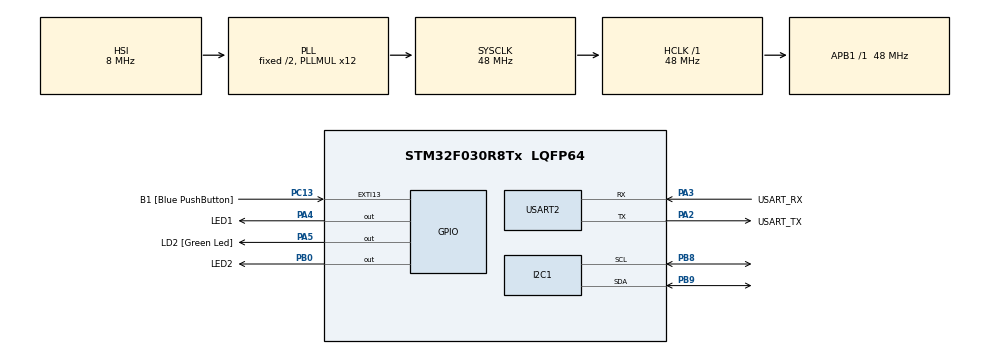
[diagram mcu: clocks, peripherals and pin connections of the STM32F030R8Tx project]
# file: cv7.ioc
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FREERTOS.Queues01=xVisualQueue,16,uint16_t,0,Dynamic,NULL,NULL
FREERTOS.Tasks01=defaultTask,0,128,StartDefaultTask,Default,NULL,Dynamic,NULL,NULL;visualTask,0,128,StartVisualTask,Default,NULL,Dynamic,NULL,NULL;AcceleroTask,0,128,StartAcceleroTask,Default,NULL,Dynamic,NULL,NULL
Mcu.Family=STM32F0
Mcu.Name=STM32F030R8Tx
Mcu.Package=LQFP64
NVIC.TIM1_BRK_UP_TRG_COM_IRQn=true\:0\:0\:false\:false\:true\:false\:false\:true
NVIC.TimeBase=TIM1_BRK_UP_TRG_COM_IRQn
NVIC.TimeBaseIP=TIM1
PA13.GPIO_Label=TMS
PA13.Mode=Serial_Wire
PA13.Signal=SYS_SWDIO
PA14.GPIO_Label=TCK
PA14.Mode=Serial_Wire
PA14.Signal=SYS_SWCLK
PA2.GPIO_Label=USART_TX
PA2.GPIO_Mode=GPIO_MODE_AF_PP
PA2.GPIO_PuPd=GPIO_NOPULL
PA2.GPIO_Speed=GPIO_SPEED_FREQ_LOW
PA2.Mode=Asynchronous
PA2.Signal=USART2_TX
PA3.GPIO_Label=USART_RX
PA3.GPIO_Mode=GPIO_MODE_AF_PP
PA3.GPIO_PuPd=GPIO_NOPULL
PA3.GPIO_Speed=GPIO_SPEED_FREQ_LOW
PA3.Mode=Asynchronous
PA3.Signal=USART2_RX
PA4.GPIO_Label=LED1
PA4.GPIO_PuPd=GPIO_NOPULL
PA4.Signal=GPIO_Output
PA5.GPIO_Label=LD2 [Green Led]
PA5.GPIO_Mode=GPIO_MODE_OUTPUT_PP
PA5.GPIO_PuPd=GPIO_NOPULL
PA5.GPIO_Speed=GPIO_SPEED_FREQ_LOW
PA5.Signal=GPIO_Output
PB0.GPIO_Label=LED2
PB0.Signal=GPIO_Output
PB8.Mode=I2C
PB8.Signal=I2C1_SCL
PB9.Mode=I2C
PB9.Signal=I2C1_SDA
PC13.GPIO_Label=B1 [Blue PushButton]
PC13.GPIO_ModeDefaultEXTI=GPIO_MODE_IT_FALLING
PC13.Signal=GPXTI13
PC14-OSC32_IN.Mode=LSE-External-Oscillator
PC14-OSC32_IN.Signal=RCC_OSC32_IN
PC15-OSC32_OUT.Mode=LSE-External-Oscillator
PC15-OSC32_OUT.Signal=RCC_OSC32_OUT
PF0-OSC_IN.Mode=HSE-External-Clock-Source
PF0-OSC_IN.Signal=RCC_OSC_IN
PF1-OSC_OUT.Signal=RCC_OSC_OUT
ProjectManager.HeapSize=0x200
ProjectManager.StackSize=0x400
ProjectManager.TargetToolchain=STM32CubeIDE
RCC.AHBFreq_Value=48000000
RCC.APB1Freq_Value=48000000
RCC.APB1TimFreq_Value=48000000
RCC.HCLKFreq_Value=48000000
RCC.PLLMUL=RCC_PLL_MUL12
RCC.SYSCLKFreq_VALUE=48000000
RCC.SYSCLKSource=RCC_SYSCLKSOURCE_PLLCLK
USART2.VirtualMode-Asynchronous=VM_ASYNC
VP_FREERTOS_VS_CMSIS_V1.Mode=CMSIS_V1
VP_SYS_VS_tim1.Mode=TIM1
board=NUCLEO-F030R8

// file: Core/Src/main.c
/* USER CODE BEGIN Header */
/**
 ******************************************************************************
 * @file           : main.c
 * @brief          : Main program body
 ******************************************************************************
 * @attention
 *
 * <h2><center>&copy; Copyright (c) 2020 STMicroelectronics.
 * All rights reserved.</center></h2>
 *
 * This software component is licensed by ST under BSD 3-Clause license,
 * the "License"; You may not use this file except in compliance with the
 * License. You may obtain a copy of the License at:
 *                        opensource.org/licenses/BSD-3-Clause
 *
 ******************************************************************************
 */
/* USER CODE END Header */

#include "main.h"
#include "cmsis_os.h"

/* USER CODE BEGIN Includes */
#include <stdio.h>
#include "lis2dw12_reg.h"

/* USER CODE END Includes */

/* USER CODE BEGIN PTD */

typedef union{
  int16_t i16bit[3];
  uint8_t u8bit[6];
} axis3bit16_t;
/* USER CODE END PTD */

/* USER CODE BEGIN PD */
#define QUEUE_WAIT 50
/* USER CODE END PD */

I2C_HandleTypeDef hi2c1;

UART_HandleTypeDef huart2;

osThreadId defaultTaskHandle;
osThreadId visualTaskHandle;
osThreadId AcceleroTaskHandle;
osMessageQId xVisualQueueHandle;

void SystemClock_Config(void);
static void MX_GPIO_Init(void);
static void MX_USART2_UART_Init(void);
static void MX_I2C1_Init(void);
void StartDefaultTask(void const * argument);
void StartVisualTask(void const * argument);
void StartAcceleroTask(void const * argument);

/* USER CODE BEGIN PFP */
static int32_t platform_write(void *handle, uint8_t reg, uint8_t *bufp, uint16_t len);
static int32_t platform_read(void *handle, uint8_t reg, uint8_t *bufp, uint16_t len);
static stmdev_ctx_t lis2dw12 = {
		.write_reg = platform_write,
		.read_reg = platform_read,
		.handle = &hi2c1,
};
/* USER CODE END PFP */

/* USER CODE BEGIN 0 */

int _write(int file, char const *buf, int n)
{
	/* stdout redirection to UART2 */
	HAL_UART_Transmit(&huart2, (uint8_t*)(buf), n, HAL_MAX_DELAY);
	return n;
}

static int32_t platform_write(void *handle, uint8_t reg, uint8_t *bufp, uint16_t len)
{
	HAL_I2C_Mem_Write(handle, LIS2DW12_I2C_ADD_H, reg, I2C_MEMADD_SIZE_8BIT, bufp, len, 1000);
	return 0;
}

static int32_t platform_read(void *handle, uint8_t reg, uint8_t *bufp, uint16_t len)
{
	HAL_I2C_Mem_Read(handle, LIS2DW12_I2C_ADD_H, reg, I2C_MEMADD_SIZE_8BIT, bufp, len, 1000);
	return 0;
}
/* USER CODE END 0 */

int main(void)
{

  /* MCU Configuration--------------------------------------------------------*/

  /* Reset of all peripherals, Initializes the Flash interface and the Systick. */
  HAL_Init();

  /* Configure the system clock */
  SystemClock_Config();

  /* Initialize all configured peripherals */
  MX_GPIO_Init();
  MX_USART2_UART_Init();
  MX_I2C1_Init();
  /* USER CODE BEGIN 2 */
  printf("Hello\n");
  /* USER CODE END 2 */

  /* Create the queue(s) */
  /* definition and creation of xVisualQueue */
  osMessageQDef(xVisualQueue, 16, uint16_t);
  xVisualQueueHandle = osMessageCreate(osMessageQ(xVisualQueue), NULL);

  /* Create the thread(s) */
  /* definition and creation of defaultTask */
  osThreadDef(defaultTask, StartDefaultTask, osPriorityNormal, 0, 128);
  defaultTaskHandle = osThreadCreate(osThread(defaultTask), NULL);

  /* definition and creation of visualTask */
  osThreadDef(visualTask, StartVisualTask, osPriorityNormal, 0, 128);
  visualTaskHandle = osThreadCreate(osThread(visualTask), NULL);

  /* definition and creation of AcceleroTask */
  osThreadDef(AcceleroTask, StartAcceleroTask, osPriorityNormal, 0, 128);
  AcceleroTaskHandle = osThreadCreate(osThread(AcceleroTask), NULL);

  /* Start scheduler */
  osKernelStart();

  /* We should never get here as control is now taken by the scheduler */
  /* Infinite loop */
	while (1)
	{

	}
}

void SystemClock_Config(void)
{
  RCC_OscInitTypeDef RCC_OscInitStruct = {0};
  RCC_ClkInitTypeDef RCC_ClkInitStruct = {0};
  RCC_PeriphCLKInitTypeDef PeriphClkInit = {0};

  /** Initializes the CPU, AHB and APB busses clocks
  */
  RCC_OscInitStruct.OscillatorType = RCC_OSCILLATORTYPE_HSI;
  RCC_OscInitStruct.HSIState = RCC_HSI_ON;
  RCC_OscInitStruct.HSICalibrationValue = RCC_HSICALIBRATION_DEFAULT;
  RCC_OscInitStruct.PLL.PLLState = RCC_PLL_ON;
  RCC_OscInitStruct.PLL.PLLSource = RCC_PLLSOURCE_HSI;
  RCC_OscInitStruct.PLL.PLLMUL = RCC_PLL_MUL12;
  RCC_OscInitStruct.PLL.PREDIV = RCC_PREDIV_DIV1;
  if (HAL_RCC_OscConfig(&RCC_OscInitStruct) != HAL_OK)
  {
    Error_Handler();
  }
  /** Initializes the CPU, AHB and APB busses clocks
  */
  RCC_ClkInitStruct.ClockType = RCC_CLOCKTYPE_HCLK|RCC_CLOCKTYPE_SYSCLK
                              |RCC_CLOCKTYPE_PCLK1;
  RCC_ClkInitStruct.SYSCLKSource = RCC_SYSCLKSOURCE_PLLCLK;
  RCC_ClkInitStruct.AHBCLKDivider = RCC_SYSCLK_DIV1;
  RCC_ClkInitStruct.APB1CLKDivider = RCC_HCLK_DIV1;

  if (HAL_RCC_ClockConfig(&RCC_ClkInitStruct, FLASH_LATENCY_1) != HAL_OK)
  {
    Error_Handler();
  }
  PeriphClkInit.PeriphClockSelection = RCC_PERIPHCLK_I2C1;
  PeriphClkInit.I2c1ClockSelection = RCC_I2C1CLKSOURCE_HSI;
  if (HAL_RCCEx_PeriphCLKConfig(&PeriphClkInit) != HAL_OK)
  {
    Error_Handler();
  }
}

static void MX_I2C1_Init(void)
{

  hi2c1.Instance = I2C1;
  hi2c1.Init.Timing = 0x2000090E;
  hi2c1.Init.OwnAddress1 = 0;
  hi2c1.Init.AddressingMode = I2C_ADDRESSINGMODE_7BIT;
  hi2c1.Init.DualAddressMode = I2C_DUALADDRESS_DISABLE;
  hi2c1.Init.OwnAddress2 = 0;
  hi2c1.Init.OwnAddress2Masks = I2C_OA2_NOMASK;
  hi2c1.Init.GeneralCallMode = I2C_GENERALCALL_DISABLE;
  hi2c1.Init.NoStretchMode = I2C_NOSTRETCH_DISABLE;
  if (HAL_I2C_Init(&hi2c1) != HAL_OK)
  {
    Error_Handler();
  }
  /** Configure Analogue filter
  */
  if (HAL_I2CEx_ConfigAnalogFilter(&hi2c1, I2C_ANALOGFILTER_ENABLE) != HAL_OK)
  {
    Error_Handler();
  }
  /** Configure Digital filter
  */
  if (HAL_I2CEx_ConfigDigitalFilter(&hi2c1, 0) != HAL_OK)
  {
    Error_Handler();
  }

}

static void MX_USART2_UART_Init(void)
{

  huart2.Instance = USART2;
  huart2.Init.BaudRate = 38400;
  huart2.Init.WordLength = UART_WORDLENGTH_8B;
  huart2.Init.StopBits = UART_STOPBITS_1;
  huart2.Init.Parity = UART_PARITY_NONE;
  huart2.Init.Mode = UART_MODE_TX_RX;
  huart2.Init.HwFlowCtl = UART_HWCONTROL_NONE;
  huart2.Init.OverSampling = UART_OVERSAMPLING_16;
  huart2.Init.OneBitSampling = UART_ONE_BIT_SAMPLE_DISABLE;
  huart2.AdvancedInit.AdvFeatureInit = UART_ADVFEATURE_NO_INIT;
  if (HAL_UART_Init(&huart2) != HAL_OK)
  {
    Error_Handler();
  }

}

static void MX_GPIO_Init(void)
{
  GPIO_InitTypeDef GPIO_InitStruct = {0};

  /* GPIO Ports Clock Enable */
  __HAL_RCC_GPIOC_CLK_ENABLE();
  __HAL_RCC_GPIOF_CLK_ENABLE();
  __HAL_RCC_GPIOA_CLK_ENABLE();
  __HAL_RCC_GPIOB_CLK_ENABLE();

  /*Configure GPIO pin Output Level */
  HAL_GPIO_WritePin(GPIOA, LED1_Pin|LD2_Pin, GPIO_PIN_RESET);

  /*Configure GPIO pin Output Level */
  HAL_GPIO_WritePin(LED2_GPIO_Port, LED2_Pin, GPIO_PIN_RESET);

  /*Configure GPIO pin : B1_Pin */
  GPIO_InitStruct.Pin = B1_Pin;
  GPIO_InitStruct.Mode = GPIO_MODE_IT_FALLING;
  GPIO_InitStruct.Pull = GPIO_NOPULL;
  HAL_GPIO_Init(B1_GPIO_Port, &GPIO_InitStruct);

  /*Configure GPIO pins : LED1_Pin LD2_Pin */
  GPIO_InitStruct.Pin = LED1_Pin|LD2_Pin;
  GPIO_InitStruct.Mode = GPIO_MODE_OUTPUT_PP;
  GPIO_InitStruct.Pull = GPIO_NOPULL;
  GPIO_InitStruct.Speed = GPIO_SPEED_FREQ_LOW;
  HAL_GPIO_Init(GPIOA, &GPIO_InitStruct);

  /*Configure GPIO pin : LED2_Pin */
  GPIO_InitStruct.Pin = LED2_Pin;
  GPIO_InitStruct.Mode = GPIO_MODE_OUTPUT_PP;
  GPIO_InitStruct.Pull = GPIO_NOPULL;
  GPIO_InitStruct.Speed = GPIO_SPEED_FREQ_LOW;
  HAL_GPIO_Init(LED2_GPIO_Port, &GPIO_InitStruct);

}

void StartDefaultTask(void const * argument)
{
	for(;;)
	{
		osDelay(1);
	}
}

void StartVisualTask(void const * argument)
{
  /* USER CODE BEGIN StartVisualTask */
	int16_t msg;

	/* Infinite loop */
	for(;;)
	{
		osDelay(1);
		if (xQueueReceive(xVisualQueueHandle, &msg, portMAX_DELAY))
		{
			// turn on LED2 if msg is more than 200
			if (msg > 200) {
				HAL_GPIO_WritePin(LED2_GPIO_Port, LED2_Pin, GPIO_PIN_SET);
				HAL_GPIO_WritePin(LED1_GPIO_Port, LED1_Pin, GPIO_PIN_RESET);
			}

			else if (msg < -200) {
				HAL_GPIO_WritePin(LED2_GPIO_Port, LED2_Pin, GPIO_PIN_RESET);
				HAL_GPIO_WritePin(LED1_GPIO_Port, LED1_Pin, GPIO_PIN_SET);
			}
		}
	}
  /* USER CODE END StartVisualTask */
}

void StartAcceleroTask(void const * argument)
{
  /* USER CODE BEGIN StartAcceleroTask */
	uint8_t counter = 0;
	uint8_t samples;
	axis3bit16_t data_raw_acceleration;

	// Check device ID
	uint8_t whoamI = 0;
	lis2dw12_device_id_get(&lis2dw12, &whoamI);
	printf("LIS2DW12_ID %s\n", (whoamI == LIS2DW12_ID) ? "OK" : "FAIL");

	// init accelero
	lis2dw12_full_scale_set(&lis2dw12, LIS2DW12_2g);
	lis2dw12_power_mode_set(&lis2dw12, LIS2DW12_CONT_LOW_PWR_LOW_NOISE_2);
	lis2dw12_block_data_update_set(&lis2dw12, PROPERTY_ENABLE);
	lis2dw12_fifo_mode_set(&lis2dw12, LIS2DW12_STREAM_MODE); // enable continuous FIFO
	lis2dw12_data_rate_set(&lis2dw12, LIS2DW12_XL_ODR_25Hz); // enable part from power-down
	/* Infinite loop */
	for(;;)
	{
		lis2dw12_fifo_data_level_get(&lis2dw12, &samples);
		for (uint8_t i = 0; i < samples; i++)
		{
			// Read acceleration data
			lis2dw12_acceleration_raw_get(&lis2dw12, data_raw_acceleration.u8bit);
		}
		xQueueSend(xVisualQueueHandle, &data_raw_acceleration.i16bit[0], 0); // send it to queue
		osDelay(QUEUE_WAIT);
		if (counter > (1000/QUEUE_WAIT)) // print info every second
		{
			printf("X=%d Y=%d Z=%d\n", data_raw_acceleration.i16bit[0], data_raw_acceleration.i16bit[1],
					data_raw_acceleration.i16bit[2]);
			counter = 0; //print and reset counter
		}
		counter++; // increment counter for printing
	}
  /* USER CODE END StartAcceleroTask */
}

 /**
  * @brief  Period elapsed callback in non blocking mode
  * @note   This function is called  when TIM1 interrupt took place, inside
  * HAL_TIM_IRQHandler(). It makes a direct call to HAL_IncTick() to increment
  * a global variable "uwTick" used as application time base.
  * @param  htim : TIM handle
  * @retval None
  */
void HAL_TIM_PeriodElapsedCallback(TIM_HandleTypeDef *htim)
{
  if (htim->Instance == TIM1) {
    HAL_IncTick();
  }
}

void Error_Handler(void)
{
}

/************************ (C) COPYRIGHT STMicroelectronics *****END OF FILE****/
